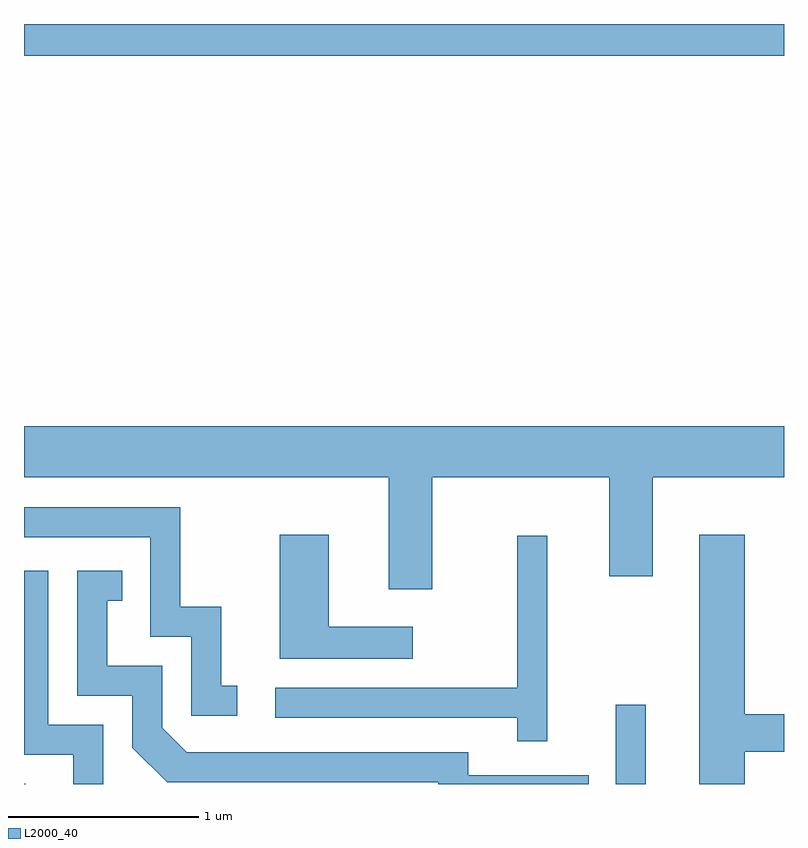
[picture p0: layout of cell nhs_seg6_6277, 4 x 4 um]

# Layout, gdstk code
import gdstk
lib = gdstk.Library(unit=1e-6, precision=1e-09)
def R(c, l, rs):  # rectangles x0, y0, x1, y1
    for r in rs: c.add(gdstk.rectangle(r[:2], r[2:], *l))
def P(c, l, *ps):  # polygons
    for p in ps: c.add(gdstk.Polygon(p, *l))
L2000_40 = (2000, 40)

nhs_seg6_6277 = lib.new_cell('nhs_seg6_6277')
R(nhs_seg6_6277, L2000_40, [(375.611,1586.162,375.619,1586.164), (378.726,1586.162,378.884,1586.578), (375.611,1589.996,379.611,1590.162)])
P(nhs_seg6_6277, L2000_40, [(377.759,1587.776),(378.691,1587.776),(378.691,1587.256),(378.919,1587.256),(378.919,1587.776),(379.611,1587.776),(379.611,1588.044),(375.611,1588.044),(375.611,1587.776),(377.531,1587.776),(377.531,1587.186),(377.759,1587.186)],
  [(376.733,1586.679),(376.649,1586.679),(376.649,1587.094),(376.434,1587.094),(376.434,1587.619),(375.611,1587.619),(375.611,1587.461),(376.276,1587.461),(376.276,1586.936),(376.491,1586.936),(376.491,1586.521),(376.733,1586.521)],
  [(377.658,1586.989),(377.214,1586.989),(377.214,1587.474),(376.956,1587.474),(376.956,1586.821),(377.658,1586.821)],
  [(379.404,1586.331),(379.611,1586.331),(379.611,1586.529),(379.404,1586.529),(379.404,1587.474),(379.166,1587.474),(379.166,1586.162),(379.404,1586.162)],
  [(378.364,1587.468),(378.206,1587.468),(378.206,1586.669),(376.933,1586.669),(376.933,1586.511),(378.206,1586.511),(378.206,1586.388),(378.364,1586.388)],
  [(376.029,1586.474),(375.739,1586.474),(375.739,1587.284),(375.611,1587.284),(375.611,1586.316),(375.871,1586.316),(375.871,1586.162),(376.029,1586.162)],
  [(378.583,1586.209),(377.949,1586.209),(377.949,1586.329),(376.467,1586.329),(376.339,1586.457),(376.339,1586.784),(376.049,1586.784),(376.049,1587.126),(376.128,1587.126),(376.128,1587.284),(375.891,1587.284),(375.891,1586.626),(376.181,1586.626),(376.181,1586.354),(376.364,1586.171),(377.791,1586.171),(377.791,1586.162),(378.583,1586.162)])

lib.write_gds('nhs_seg6_6277.gds')
